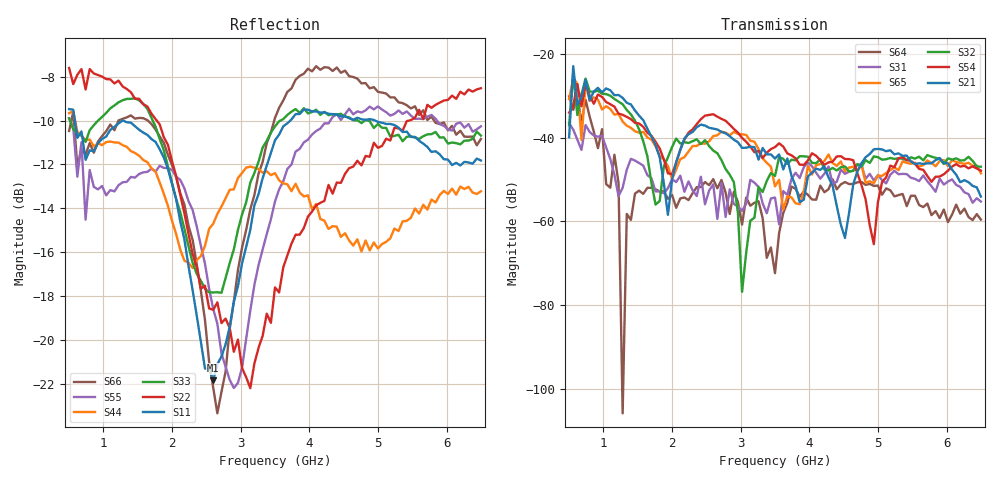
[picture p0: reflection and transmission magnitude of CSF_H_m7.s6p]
!Keysight Technologies,M9804A,MY58100912,A.14.10.03
!Date: Thursday, April 27, 2023 10:28:33
!Correction: S11(C  6-Port  )
!S12(C  6-Port  )
!S13(C  6-Port  )
!S14(C  6-Port  )
!S15(C  6-Port  )
!S16(C  6-Port  )
!S21(C  6-Port  )
!S22(C  6-Port  )
!S23(C  6-Port  )
!S24(C  6-Port  )
!S25(C  6-Port  )
!S26(C  6-Port  )
!S31(C  6-Port  )
!S32(C  6-Port  )
!S33(C  6-Port  )
!S34(C  6-Port  )
!S35(C  6-Port  )
!S36(C  6-Port  )
!S41(C  6-Port  )
!S42(C  6-Port  )
!S43(C  6-Port  )
!S44(C  6-Port  )
!S45(C  6-Port  )
!S46(C  6-Port  )
!S51(C  6-Port  )
!S52(C  6-Port  )
!S53(C  6-Port  )
!S54(C  6-Port  )
!S55(C  6-Port  )
!S56(C  6-Port  )
!S61(C  6-Port  )
!S62(C  6-Port  )
!S63(C  6-Port  )
!S64(C  6-Port  )
!S65(C  6-Port  )
!S66(C  6-Port  )
!S6P File: Measurement: :
# Hz S  RI  R 50
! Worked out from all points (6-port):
!   101 points, 500 MHz to 6.5 GHz, reference 50 ohm
!   strongest paths, dB at 500 MHz, 2 GHz, 3.5 GHz, 5 GHz, 6.5 GHz:
!     S21: -39.9, -50.0, -45.0, -42.6, -54.0
!     S54: -34.0, -48.7, -42.2, -55.4, -47.8
!     S32: -36.9, -42.2, -49.1, -44.6, -46.9
!     S65: -30.7, -49.9, -51.6, -49.0, -48.5
!     S31: -36.5, -49.9, -54.3, -48.9, -55.2
!     S64: -30.1, -53.6, -72.4, -51.4, -59.5
!   lowest |S11| = -21.8 dB at 2.6 GHz (marker M1), VSWR 1.18, Z = 42.7 + j1.93 ohm
!   |S11| at or under -10 dB: 583.1 MHz to 1.276 GHz (692.7 MHz wide, 74.5 % of centre); 1.287 GHz to 3.723 GHz (2.436 GHz wide, 97.3 % of centre); 4.96 GHz to end of sweep
